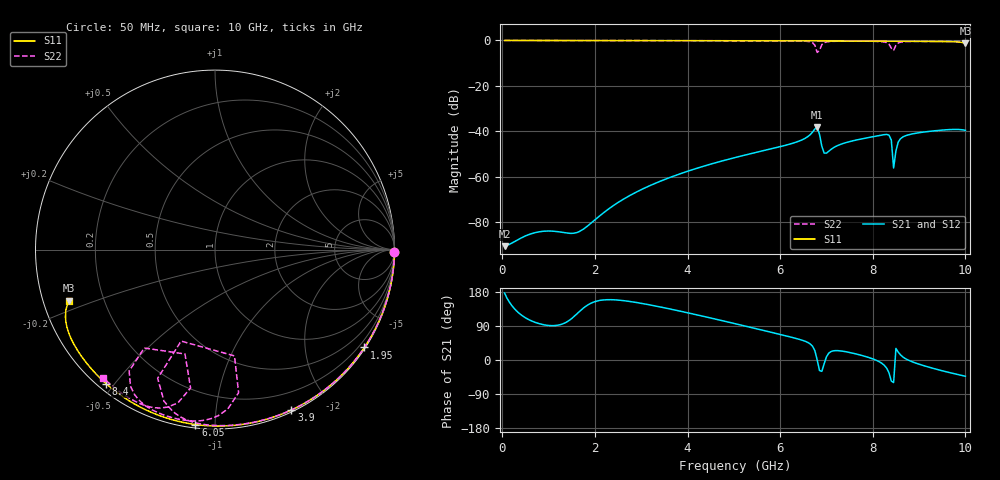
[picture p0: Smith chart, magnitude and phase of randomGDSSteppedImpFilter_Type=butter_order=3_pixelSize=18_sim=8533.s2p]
! freq	dB(S11)	phase(S11)	dB(S12)	phase(S12)
!  dB(S21)	phase(S21)	dB(S22)	phase(S22)
!S-par simulation data
#  GHz  S  DB  R 50
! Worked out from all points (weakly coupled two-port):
!   200 points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, 50 MHz to 10 GHz, reference 50 ohm
!   highest |S21| = -38.36 dB at 6.8 GHz (marker M1); lowest = -90.7 dB at 50 MHz (marker M2)
!   lowest |S11| = -1.3 dB at 10 GHz (marker M3), VSWR 13.75, Z = 3.74 - j8.43 ohm
!   |S11| at or under -10 dB: nowhere
!   |S22| runs from -5.3 to 0.0 dB; largest |S21 - S12| = 0
!   S11 on the Smith chart (normalised r, x): 50 MHz: open; 1.95 GHz: 0.03, -3.35; 3.9 GHz: 0.02, -1.58; 6.05 GHz: 0.02, -0.89; 8.4 GHz: 0.02, -0.48; 10 GHz: 0.07, -0.17
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0.05  -0.00 -0.9  -90.69 176.6  -90.69 176.6  -0.00 -0.8
1.75  -0.04 -29.9  -83.21 136.9  -83.21 136.9  -0.03 -26.7
1.95  -0.04 -33.2  -79.95 151.7  -79.95 151.7  -0.04 -29.7
2.6  -0.06 -43.9  -70.17 156.9  -70.17 156.9  -0.05 -39.4
3.4  -0.08 -56.7  -62.15 140.3  -62.15 140.3  -0.07 -51.0
3.9  -0.09 -64.6  -58.36 127.3  -58.36 127.3  -0.08 -58.1
5.05  -0.13 -81.9  -51.50 95.2  -51.50 95.2  -0.11 -74.3
6.05  -0.17 -96.4  -46.57 65.9  -46.57 65.9  -0.17 -88.8
6.7  -0.20 -105.5  -40.39 36.2  -40.39 36.2  -1.00 -108.6
6.75  -0.21 -106.2  -39.02 24.4  -39.02 24.4  -2.10 -114.0
6.8  -0.21 -106.9  -38.36 0.1  -38.36 0.1  -5.29 -110.3
6.85  -0.21 -107.6  -41.40 -27.9  -41.40 -27.9  -4.41 -79.6
6.95  -0.22 -109.0  -49.65 -9.9  -49.65 -9.9  -1.00 -85.4
7.95  -0.29 -122.8  -42.64 5.1  -42.64 5.1  -0.35 -110.5
8.35  -0.33 -128.3  -41.73 -33.7  -41.73 -33.7  -1.63 -125.3
8.4  -0.33 -129.0  -43.88 -55.6  -43.88 -55.6  -3.41 -125.7
8.45  -0.34 -129.7  -56.23 -59.5  -56.23 -59.5  -4.36 -106.1
8.5  -0.34 -130.4  -48.69 30.6  -48.69 30.6  -2.12 -100.0
8.55  -0.35 -131.1  -44.75 20.8  -44.75 20.8  -1.13 -103.6
8.65  -0.36 -132.5  -42.55 8.0  -42.55 8.0  -0.59 -109.1
9.65  -0.52 -148.6  -39.30 -33.0  -39.30 -33.0  -0.43 -126.8
10  -1.27 -160.8  -39.64 -42.9  -39.64 -42.9  -0.47 -131.2
